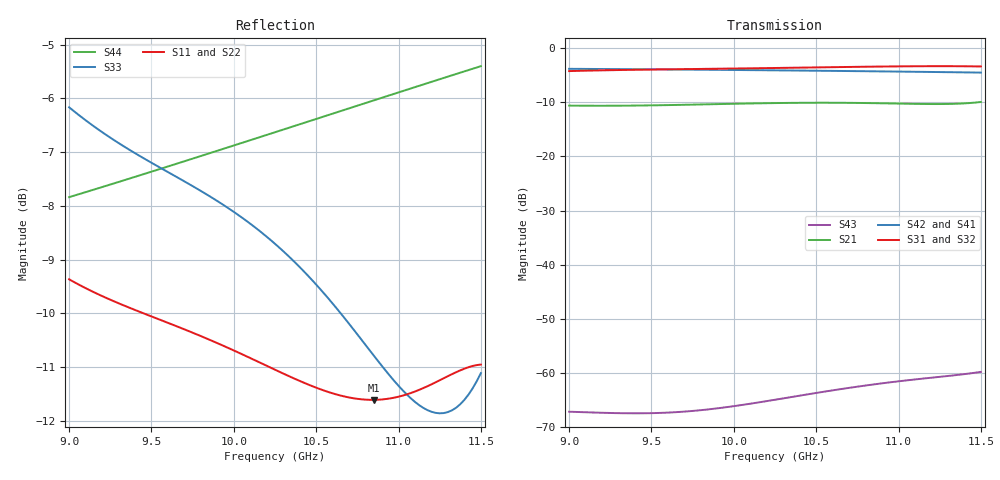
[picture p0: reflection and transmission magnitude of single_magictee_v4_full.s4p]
! Generated from PyAEDT SolutionData; AEDT ExportNetworkData workaround
# GHz S MA R 50
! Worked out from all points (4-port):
!   101 points, 9 GHz to 11.5 GHz, reference 50 ohm
!   strongest paths, dB at 9 GHz, 9.625 GHz, 10.25 GHz, 10.88 GHz, 11.5 GHz:
!     S31: -4.2, -3.9, -3.6, -3.4, -3.3
!     S32: -4.2, -3.9, -3.6, -3.4, -3.4
!     S42: -3.8, -3.9, -4.1, -4.3, -4.5
!     S41: -3.8, -3.9, -4.1, -4.3, -4.5
!     S21: -10.6, -10.5, -10.1, -10.1, -9.9
!     S43: -67.2, -67.3, -65.0, -62.1, -59.9
!   lowest |S11| = -11.6 dB at 10.85 GHz (marker M1), VSWR 1.71, Z = 29.9 + j6.09 ohm
!   |S11| at or under -10 dB: 9.452 GHz to end of sweep
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9  0.3401 -5.2  0.2956 -84.0  0.6166 -22.5  0.6456 45.7
   0.2956 -84.0  0.3402 -4.9  0.6149 -22.5  0.6471 -134.3
   0.6166 -22.5  0.6149 -22.5  0.4916 176.2  0.0004354 96.5
   0.6456 45.7  0.6471 -134.3  0.0004354 96.5  0.4056 -129.2
9.425  0.3174 -55.0  0.2961 -142.4  0.6347 -98.1  0.6394 -2.3
       0.2961 -142.4  0.3176 -54.7  0.633 -98.0  0.6409 177.8
       0.6347 -98.1  0.633 -98.0  0.4433 80.6  0.0004209 26.3
       0.6394 -2.3  0.6409 177.8  0.0004209 26.3  0.4248 -173.7
9.925  0.2955 -110.8  0.3057 152.7  0.6489 176.8  0.631 -56.5
       0.3057 152.7  0.2959 -110.5  0.6473 176.9  0.6325 123.6
       0.6489 176.8  0.6473 176.9  0.3999 -26.2  0.0004731 -48.5
       0.631 -56.5  0.6325 123.6  0.0004731 -48.5  0.4492 135.3
10.4  0.2736 -159.7  0.3135 93.0  0.6634 98.0  0.6219 -106.4
      0.3135 93.0  0.2742 -159.5  0.6618 98.1  0.6233 73.7
      0.6634 98.0  0.6618 98.1  0.3492 -125.3  0.0006129 -125.2
      0.6219 -106.4  0.6233 73.7  0.0006129 -125.2  0.4741 87.8
10.85  0.2628 158.8  0.3113 38.6  0.6778 23.2  0.6121 -152.7
       0.3113 38.6  0.2637 159.0  0.6762 23.3  0.6135 27.5
       0.6778 23.2  0.6762 23.3  0.2889 136.1  0.0007789 152.1
       0.6121 -152.7  0.6135 27.5  0.0007789 152.1  0.499 43.3
11.15  0.2694 131.8  0.306 4.8  0.6839 -27.9  0.605 176.8
       0.306 4.8  0.2708 132.0  0.6823 -27.7  0.6062 -3.0
       0.6839 -27.9  0.6823 -27.7  0.2583 63.2  0.0008821 90.2
       0.605 176.8  0.6062 -3.0  0.0008821 90.2  0.5162 13.7
11.5  0.2834 94.9  0.3193 -30.5  0.6801 -90.9  0.596 141.5
      0.3193 -30.5  0.2855 95.2  0.6783 -90.8  0.5971 -38.3
      0.6801 -90.9  0.6783 -90.8  0.2783 -27.6  0.001017 5.4
      0.596 141.5  0.5971 -38.3  0.001017 5.4  0.5369 -20.8
